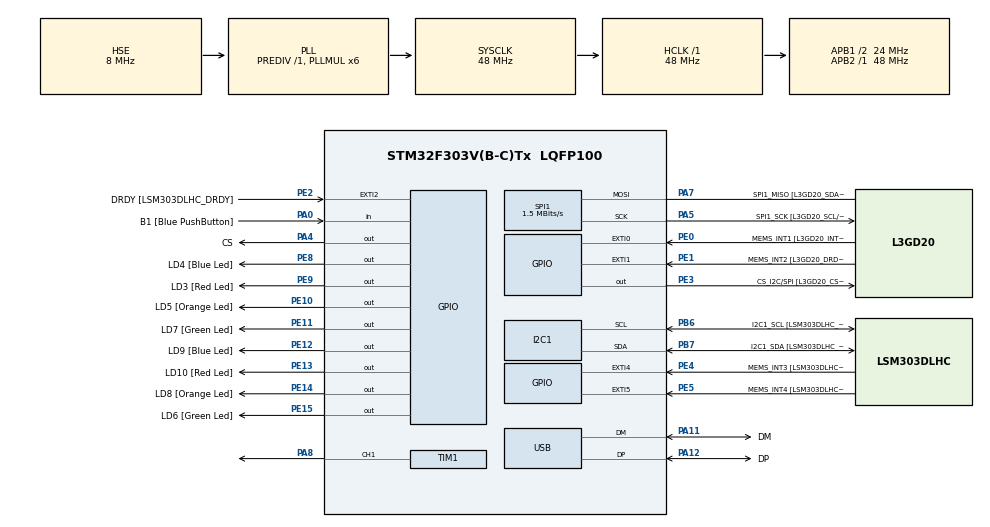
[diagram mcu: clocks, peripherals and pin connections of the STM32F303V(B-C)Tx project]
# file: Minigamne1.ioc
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I2C1.Timing=0x00201D2B
I2C1.Timing-I2C=0x2000090E
Mcu.Family=STM32F3
Mcu.Name=STM32F303V(B-C)Tx
Mcu.Package=LQFP100
NVIC.PriorityGroup=NVIC_PRIORITYGROUP_0
PA0.GPIO_Label=B1 [Blue PushButton]
PA0.Signal=GPIO_Input
PA11.GPIO_Label=DM
PA11.Mode=Device
PA11.Signal=USB_DM
PA12.GPIO_Label=DP
PA12.Mode=Device
PA12.Signal=USB_DP
PA13.GPIO_Label=SWDIO
PA13.Mode=Serial_Wire
PA13.Signal=SYS_JTMS-SWDIO
PA14.GPIO_Label=SWCLK
PA14.Mode=Serial_Wire
PA14.Signal=SYS_JTCK-SWCLK
PA4.GPIO_Label=CS
PA4.Signal=GPIO_Output
PA5.GPIO_Label=SPI1_SCK [L3GD20_SCL/SPC]
PA5.Mode=Simplex_Bidirectional_Master
PA5.Signal=SPI1_SCK
PA7.GPIO_Label=SPI1_MISO [L3GD20_SDA/SDI/SDO]
PA7.Mode=Simplex_Bidirectional_Master
PA7.Signal=SPI1_MOSI
PA8.Signal=S_TIM1_CH1
PB3.GPIO_Label=SWO
PB3.Signal=SYS_JTDO-TRACESWO
PB6.GPIO_Label=I2C1_SCL [LSM303DLHC_SCL]
PB6.GPIO_Pu=GPIO_PULLUP
PB6.Mode=I2C
PB6.Signal=I2C1_SCL
PB7.GPIO_Label=I2C1_SDA [LSM303DLHC_SDA]
PB7.GPIO_Pu=GPIO_PULLUP
PB7.Mode=I2C
PB7.Signal=I2C1_SDA
PC14-OSC32_IN.GPIO_Label=OSC32_IN
PC14-OSC32_IN.Signal=RCC_OSC32_IN
PC15-OSC32_OUT.GPIO_Label=OSC32_OUT
PC15-OSC32_OUT.Signal=RCC_OSC32_OUT
PE0.GPIO_Label=MEMS_INT1 [L3GD20_INT1]
PE0.GPIO_ModeDefaultEXTI=GPIO_MODE_EVT_RISING
PE0.Signal=GPXTI0
PE1.GPIO_Label=MEMS_INT2 [L3GD20_DRDY/INT2]
PE1.GPIO_ModeDefaultEXTI=GPIO_MODE_EVT_RISING
PE1.Signal=GPXTI1
PE10.GPIO_Label=LD5 [Orange Led]
PE10.Signal=GPIO_Output
PE11.GPIO_Label=LD7 [Green Led]
PE11.Signal=GPIO_Output
PE12.GPIO_Label=LD9 [Blue Led]
PE12.Signal=GPIO_Output
PE13.GPIO_Label=LD10 [Red Led]
PE13.Signal=GPIO_Output
PE14.GPIO_Label=LD8 [Orange Led]
PE14.Signal=GPIO_Output
PE15.GPIO_Label=LD6 [Green Led]
PE15.Signal=GPIO_Output
PE2.GPIO_Label=DRDY [LSM303DLHC_DRDY]
PE2.GPIO_ModeDefaultEXTI=GPIO_MODE_EVT_RISING
PE2.Signal=GPXTI2
PE3.GPIO_Label=CS_I2C/SPI [L3GD20_CS_I2C/SPI]
PE3.Signal=GPIO_Output
PE4.GPIO_Label=MEMS_INT3 [LSM303DLHC_INT1]
PE4.GPIO_ModeDefaultEXTI=GPIO_MODE_EVT_RISING
PE4.Signal=GPXTI4
PE5.GPIO_Label=MEMS_INT4 [LSM303DLHC_INT2]
PE5.GPIO_ModeDefaultEXTI=GPIO_MODE_EVT_RISING
PE5.Signal=GPXTI5
PE8.GPIO_Label=LD4 [Blue Led]
PE8.Signal=GPIO_Output
PE9.GPIO_Label=LD3 [Red Led]
PE9.Signal=GPIO_Output
PF0-OSC_IN.GPIO_Label=OSC_IN
PF0-OSC_IN.Mode=HSE-External-Oscillator
PF0-OSC_IN.Signal=RCC_OSC_IN
PF1-OSC_OUT.GPIO_Label=OSC_OUT
PF1-OSC_OUT.Mode=HSE-External-Oscillator
PF1-OSC_OUT.Signal=RCC_OSC_OUT
ProjectManager.HeapSize=0x200
ProjectManager.StackSize=0x400
ProjectManager.TargetToolchain=STM32CubeIDE
RCC.AHBFreq_Value=48000000
RCC.APB1CLKDivider=RCC_HCLK_DIV2
RCC.APB1Freq_Value=24000000
RCC.APB1TimFreq_Value=48000000
RCC.APB2Freq_Value=48000000
RCC.APB2TimFreq_Value=48000000
RCC.CortexFreq_Value=48000000
RCC.HCLKFreq_Value=48000000
RCC.HSE_VALUE=8000000
RCC.HSI_VALUE=8000000
RCC.LSE_VALUE=32768
RCC.PLLMUL=RCC_PLL_MUL6
RCC.SYSCLKFreq_VALUE=48000000
RCC.SYSCLKSourceVirtual=RCC_SYSCLKSOURCE_PLLCLK
RCC.USBFreq_Value=48000000
SH.S_TIM1_CH1.0=TIM1_CH1,PWM Generation1 CH1
SPI1.BaudRatePrescaler=SPI_BAUDRATEPRESCALER_32
SPI1.CLKPolarity=SPI_POLARITY_HIGH
SPI1.CalculateBaudRate=1.5 MBits/s
SPI1.DataSize=SPI_DATASIZE_16BIT
SPI1.Direction=SPI_DIRECTION_1LINE
SPI1.Mode=SPI_MODE_MASTER
SPI1.VirtualType=VM_MASTER
TIM1.Channel-PWM\ Generation1\ CH1=TIM_CHANNEL_1
TIM1.Period=1000
TIM1.Pulse-PWM\ Generation1\ CH1=500
VP_TIM1_VS_ClockSourceINT.Mode=Internal
board=STM32F3DISCOVERY

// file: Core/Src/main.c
/* USER CODE BEGIN Header */
/**
  ******************************************************************************
  * @file           : main.c
  * @brief          : Main program body
  ******************************************************************************
  * @attention
  *
  * Copyright (c) 2025 STMicroelectronics.
  * All rights reserved.
  *
  * This software is licensed under terms that can be found in the LICENSE file
  * in the root directory of this software component.
  * If no LICENSE file comes with this software, it is provided AS-IS.
  *
  ******************************************************************************
  */
/* USER CODE END Header */
#include "main.h"
#include "GPIO.h"
#include "serial.h"
#include "song.h"
#include "LED_MATRIX.h"
#include "delay.h"
#include "master.h"

I2C_HandleTypeDef hi2c1;

SPI_HandleTypeDef hspi1;

TIM_HandleTypeDef htim1;

PCD_HandleTypeDef hpcd_USB_FS;

void SystemClock_Config(void);
static void MX_GPIO_Init(void);
static void MX_I2C1_Init(void);
static void MX_SPI1_Init(void);
static void MX_USB_PCD_Init(void);
static void MX_TIM1_Init(void);

/* USER CODE BEGIN 0 */
#define TIM_FREQ 30000000
volatile uint8_t state_counter = 1;  // Tracks A=1, B=2, C=3
volatile uint8_t reset_flag = 0;
volatile uint8_t song_is_playing = 0;
volatile uint8_t end = 0;
const uint8_t message_A[] = "What be a pirates favourite letter? \n";
const uint8_t message_B[] = "I’ve got no legs, yet roam the shore, I’ve seen more gold than most ever store. I squawk secrets of ships and sails, And wear bright colors instead of mail. What be I? \n";
const uint8_t message_C[] = "Game 3 (button 1)\n";
const uint8_t message_win[] = "You Win\n";

void pattern1();
void pattern2();
void pattern3();
void reset_game();

GPIO *led_pins;

void max7219_write (uint8_t Addr, uint8_t data)
{
	uint16_t write_data = (Addr<<8)|data; // merge our address and data into one variable with adress on the 8-RHS and data on the 8-LHS as per the datasheet
	HAL_GPIO_WritePin(CS_GPIO_Port, CS_Pin, 0); // pull the pin low to enable slave device
	HAL_SPI_Transmit(&hspi1, (uint8_t *)&write_data, 1, 100);
	HAL_GPIO_WritePin(CS_GPIO_Port, CS_Pin, 1); //Pull pin high to disable slave
}

int pres_frequency (int frequency)
{
	if (frequency ==0) return 0;
	return (TIM_FREQ /(1000*frequency));
}

void notone (void)
{
	__HAL_TIM_SET_PRESCALER(&htim1, TIM_CHANNEL_1);
}

void play_tone (int *tone, int *duration, int *pause, int size)
{
	for (int i = 0; i <size; i++)
	{
		int pres = pres_frequency(tone[i]); // Calculate the prescaler value to generate the desired frequency
		int dur = duration[i];  // Duration to play the current tone
		int pausebetweentones = 0; // Calculate the pause between tones (if provided)
		if (pause != NULL) pausebetweentones = pause[i] - duration[i];  // Set the PWM prescaler to produce the required frequency
		__HAL_TIM_SET_PRESCALER(&htim1, pres);
		HAL_Delay(dur); //delay by the duration of the note
		notone();
		HAL_Delay(pausebetweentones); // Delay for the pause duration before playing the next tone

	}
}

void reset_game(void) {
	empty_matrix(); // set all lights to off
    state_counter = 1;
    SerialOutputString((uint8_t *)"Grrr, you got the answer wrong! What be a pirates favourite letter? (A: R, B: C) \n", &USART1_PORT);
}

void second_button() {
	//if (song_is_playing) return;  // Ignore input during song playback
	if (state_counter == 1) {
	            pattern1(); //light first LED pattter
	            play_song_2 = 1; //play Pirates of the carribean song
	            state_counter = 2; //increase counter for next level
	            SerialOutputString((uint8_t *)"Ive got no legs, yet roam the shore, I’ve seen more gold than most ever store. I squawk secrets of ships and sails, And wear bright colors instead of mail. What be I? (A: Flag, B: Parrot) \n", &USART1_PORT); //print message for next game
	        }
	else if (state_counter == 2) {
	            pattern2(); //Light pattern 2 on matrix
	            play_song_2 = 1; //play song
	            state_counter = 3; //increase counter for final game
	            SerialOutputString((uint8_t *)"Pirate’s life for me, I’m the captain’s steady hand, what am I? (A: First mate, B: Pirate Ship) \n", &USART1_PORT); //print message for final game
	        }
	 else
	        {
	            reset_game();  // Wrong button for this stage
	        }

}

void first_button() {
		if (state_counter == 3) {
			            pattern3(); //light final LED pattern
			            SerialOutputString((uint8_t *)"You Win\n", &USART1_PORT);
			            play_song_3 = 1; //run song
			            //TransmitChar(&USART2_PORT, 0x01); Transmit a character when the game is done
			        }
	else
	{
	            reset_game();  // Wrong button for this stage
	 }
}

/* USER CODE END 0 */

int main(void)
{

  /* MCU Configuration--------------------------------------------------------*/

  /* Reset of all peripherals, Initializes the Flash interface and the Systick. */
  HAL_Init();

  /* Configure the system clock */
  SystemClock_Config();

  /* Initialize all configured peripherals */
  MX_GPIO_Init();
  MX_I2C1_Init();
  MX_SPI1_Init();
  MX_USB_PCD_Init();
  MX_TIM1_Init();
  /* USER CODE BEGIN 2 */
  TIM3_Init();
  matrixInit(); //Initialise the board
  SerialInitialise(BAUD_115200, &USART1_PORT, 0x00);

  HAL_TIM_PWM_Start(&htim1, TIM_CHANNEL_1); //Initiate the PWM sequence

  led_pins = init_port(E, OUTPUT, 8, 15);
      uint8_t pin_state = 0b00000001;
      write_pins(led_pins, pin_state);
      write_single_pin(led_pins, 1, 11); // PE11 on
      write_single_pin(led_pins, 0, 8);  // PE8 off

      // Initialize button (PA0 as input)
      GPIO *button = init_port(A, INPUT, 0, 0); //set PA0 to input
      GPIO *button2 = init_port(B, INPUT, 1, 1); //Set PB1 to input
      enable_interupt(button, 0, RISING_EDGE, 1, &first_button); //enable interrupt for button 1
      enable_interupt(button2, 1, RISING_EDGE, 1, &second_button); //enable interrupt for button 2

      SerialOutputString((uint8_t*)"What be a pirates favourite letter? (A: R, B: C) \n", &USART1_PORT);

  /* USER CODE END 2 */

  /* Infinite loop */
  /* USER CODE BEGIN WHILE */
  while (1)
  {
	  if (play_song_2) {
	         play_tone(notes, durations, NULL, song_length_third); //play a third of the song
	         play_song_2 = 0;
	     }

	     if (play_song_3) {
	         play_tone(notes, durations, NULL, song_length); // play the enitre song
	         play_song_2 = 0;
	     }
  }
  /* USER CODE END 3 */
}

void SystemClock_Config(void)
{
  RCC_OscInitTypeDef RCC_OscInitStruct = {0};
  RCC_ClkInitTypeDef RCC_ClkInitStruct = {0};
  RCC_PeriphCLKInitTypeDef PeriphClkInit = {0};

  /** Initializes the RCC Oscillators according to the specified parameters
  * in the RCC_OscInitTypeDef structure.
  */
  RCC_OscInitStruct.OscillatorType = RCC_OSCILLATORTYPE_HSI|RCC_OSCILLATORTYPE_HSE;
  RCC_OscInitStruct.HSEState = RCC_HSE_ON;
  RCC_OscInitStruct.HSEPredivValue = RCC_HSE_PREDIV_DIV1;
  RCC_OscInitStruct.HSIState = RCC_HSI_ON;
  RCC_OscInitStruct.HSICalibrationValue = RCC_HSICALIBRATION_DEFAULT;
  RCC_OscInitStruct.PLL.PLLState = RCC_PLL_ON;
  RCC_OscInitStruct.PLL.PLLSource = RCC_PLLSOURCE_HSE;
  RCC_OscInitStruct.PLL.PLLMUL = RCC_PLL_MUL6;
  if (HAL_RCC_OscConfig(&RCC_OscInitStruct) != HAL_OK)
  {
    Error_Handler();
  }

  /** Initializes the CPU, AHB and APB buses clocks
  */
  RCC_ClkInitStruct.ClockType = RCC_CLOCKTYPE_HCLK|RCC_CLOCKTYPE_SYSCLK
                              |RCC_CLOCKTYPE_PCLK1|RCC_CLOCKTYPE_PCLK2;
  RCC_ClkInitStruct.SYSCLKSource = RCC_SYSCLKSOURCE_PLLCLK;
  RCC_ClkInitStruct.AHBCLKDivider = RCC_SYSCLK_DIV1;
  RCC_ClkInitStruct.APB1CLKDivider = RCC_HCLK_DIV2;
  RCC_ClkInitStruct.APB2CLKDivider = RCC_HCLK_DIV1;

  if (HAL_RCC_ClockConfig(&RCC_ClkInitStruct, FLASH_LATENCY_1) != HAL_OK)
  {
    Error_Handler();
  }
  PeriphClkInit.PeriphClockSelection = RCC_PERIPHCLK_USB|RCC_PERIPHCLK_I2C1
                              |RCC_PERIPHCLK_TIM1;
  PeriphClkInit.I2c1ClockSelection = RCC_I2C1CLKSOURCE_HSI;
  PeriphClkInit.USBClockSelection = RCC_USBCLKSOURCE_PLL;
  PeriphClkInit.Tim1ClockSelection = RCC_TIM1CLK_HCLK;
  if (HAL_RCCEx_PeriphCLKConfig(&PeriphClkInit) != HAL_OK)
  {
    Error_Handler();
  }
}

static void MX_I2C1_Init(void)
{

  hi2c1.Instance = I2C1;
  hi2c1.Init.Timing = 0x00201D2B;
  hi2c1.Init.OwnAddress1 = 0;
  hi2c1.Init.AddressingMode = I2C_ADDRESSINGMODE_7BIT;
  hi2c1.Init.DualAddressMode = I2C_DUALADDRESS_DISABLE;
  hi2c1.Init.OwnAddress2 = 0;
  hi2c1.Init.OwnAddress2Masks = I2C_OA2_NOMASK;
  hi2c1.Init.GeneralCallMode = I2C_GENERALCALL_DISABLE;
  hi2c1.Init.NoStretchMode = I2C_NOSTRETCH_DISABLE;
  if (HAL_I2C_Init(&hi2c1) != HAL_OK)
  {
    Error_Handler();
  }

  /** Configure Analogue filter
  */
  if (HAL_I2CEx_ConfigAnalogFilter(&hi2c1, I2C_ANALOGFILTER_ENABLE) != HAL_OK)
  {
    Error_Handler();
  }

  /** Configure Digital filter
  */
  if (HAL_I2CEx_ConfigDigitalFilter(&hi2c1, 0) != HAL_OK)
  {
    Error_Handler();
  }

}

static void MX_SPI1_Init(void)
{

  /* SPI1 parameter configuration*/
  hspi1.Instance = SPI1;
  hspi1.Init.Mode = SPI_MODE_MASTER;
  hspi1.Init.Direction = SPI_DIRECTION_1LINE;
  hspi1.Init.DataSize = SPI_DATASIZE_16BIT;
  hspi1.Init.CLKPolarity = SPI_POLARITY_HIGH;
  hspi1.Init.CLKPhase = SPI_PHASE_1EDGE;
  hspi1.Init.NSS = SPI_NSS_SOFT;
  hspi1.Init.BaudRatePrescaler = SPI_BAUDRATEPRESCALER_32;
  hspi1.Init.FirstBit = SPI_FIRSTBIT_MSB;
  hspi1.Init.TIMode = SPI_TIMODE_DISABLE;
  hspi1.Init.CRCCalculation = SPI_CRCCALCULATION_DISABLE;
  hspi1.Init.CRCPolynomial = 7;
  hspi1.Init.CRCLength = SPI_CRC_LENGTH_DATASIZE;
  hspi1.Init.NSSPMode = SPI_NSS_PULSE_ENABLE;
  if (HAL_SPI_Init(&hspi1) != HAL_OK)
  {
    Error_Handler();
  }

}

static void MX_TIM1_Init(void)
{

  TIM_ClockConfigTypeDef sClockSourceConfig = {0};
  TIM_MasterConfigTypeDef sMasterConfig = {0};
  TIM_OC_InitTypeDef sConfigOC = {0};
  TIM_BreakDeadTimeConfigTypeDef sBreakDeadTimeConfig = {0};

  htim1.Instance = TIM1;
  htim1.Init.Prescaler = 0;
  htim1.Init.CounterMode = TIM_COUNTERMODE_UP;
  htim1.Init.Period = 1000;
  htim1.Init.ClockDivision = TIM_CLOCKDIVISION_DIV1;
  htim1.Init.RepetitionCounter = 0;
  htim1.Init.AutoReloadPreload = TIM_AUTORELOAD_PRELOAD_DISABLE;
  if (HAL_TIM_Base_Init(&htim1) != HAL_OK)
  {
    Error_Handler();
  }
  sClockSourceConfig.ClockSource = TIM_CLOCKSOURCE_INTERNAL;
  if (HAL_TIM_ConfigClockSource(&htim1, &sClockSourceConfig) != HAL_OK)
  {
    Error_Handler();
  }
  if (HAL_TIM_PWM_Init(&htim1) != HAL_OK)
  {
    Error_Handler();
  }
  sMasterConfig.MasterOutputTrigger = TIM_TRGO_RESET;
  sMasterConfig.MasterOutputTrigger2 = TIM_TRGO2_RESET;
  sMasterConfig.MasterSlaveMode = TIM_MASTERSLAVEMODE_DISABLE;
  if (HAL_TIMEx_MasterConfigSynchronization(&htim1, &sMasterConfig) != HAL_OK)
  {
    Error_Handler();
  }
  sConfigOC.OCMode = TIM_OCMODE_PWM1;
  sConfigOC.Pulse = 500;
  sConfigOC.OCPolarity = TIM_OCPOLARITY_HIGH;
  sConfigOC.OCNPolarity = TIM_OCNPOLARITY_HIGH;
  sConfigOC.OCFastMode = TIM_OCFAST_DISABLE;
  sConfigOC.OCIdleState = TIM_OCIDLESTATE_RESET;
  sConfigOC.OCNIdleState = TIM_OCNIDLESTATE_RESET;
  if (HAL_TIM_PWM_ConfigChannel(&htim1, &sConfigOC, TIM_CHANNEL_1) != HAL_OK)
  {
    Error_Handler();
  }
  sBreakDeadTimeConfig.OffStateRunMode = TIM_OSSR_DISABLE;
  sBreakDeadTimeConfig.OffStateIDLEMode = TIM_OSSI_DISABLE;
  sBreakDeadTimeConfig.LockLevel = TIM_LOCKLEVEL_OFF;
  sBreakDeadTimeConfig.DeadTime = 0;
  sBreakDeadTimeConfig.BreakState = TIM_BREAK_DISABLE;
  sBreakDeadTimeConfig.BreakPolarity = TIM_BREAKPOLARITY_HIGH;
  sBreakDeadTimeConfig.BreakFilter = 0;
  sBreakDeadTimeConfig.Break2State = TIM_BREAK2_DISABLE;
  sBreakDeadTimeConfig.Break2Polarity = TIM_BREAK2POLARITY_HIGH;
  sBreakDeadTimeConfig.Break2Filter = 0;
  sBreakDeadTimeConfig.AutomaticOutput = TIM_AUTOMATICOUTPUT_DISABLE;
  if (HAL_TIMEx_ConfigBreakDeadTime(&htim1, &sBreakDeadTimeConfig) != HAL_OK)
  {
    Error_Handler();
  }
  HAL_TIM_MspPostInit(&htim1);

}

static void MX_USB_PCD_Init(void)
{

  hpcd_USB_FS.Instance = USB;
  hpcd_USB_FS.Init.dev_endpoints = 8;
  hpcd_USB_FS.Init.speed = PCD_SPEED_FULL;
  hpcd_USB_FS.Init.phy_itface = PCD_PHY_EMBEDDED;
  hpcd_USB_FS.Init.low_power_enable = DISABLE;
  hpcd_USB_FS.Init.battery_charging_enable = DISABLE;
  if (HAL_PCD_Init(&hpcd_USB_FS) != HAL_OK)
  {
    Error_Handler();
  }

}

static void MX_GPIO_Init(void)
{
  GPIO_InitTypeDef GPIO_InitStruct = {0};

  /* GPIO Ports Clock Enable */
  __HAL_RCC_GPIOE_CLK_ENABLE();
  __HAL_RCC_GPIOC_CLK_ENABLE();
  __HAL_RCC_GPIOF_CLK_ENABLE();
  __HAL_RCC_GPIOA_CLK_ENABLE();
  __HAL_RCC_GPIOB_CLK_ENABLE();

  /*Configure GPIO pin Output Level */
  HAL_GPIO_WritePin(GPIOE, CS_I2C_SPI_Pin|LD4_Pin|LD3_Pin|LD5_Pin
                          |LD7_Pin|LD9_Pin|LD10_Pin|LD8_Pin
                          |LD6_Pin, GPIO_PIN_RESET);

  /*Configure GPIO pin Output Level */
  HAL_GPIO_WritePin(CS_GPIO_Port, CS_Pin, GPIO_PIN_RESET);

  /*Configure GPIO pins : DRDY_Pin MEMS_INT3_Pin MEMS_INT4_Pin MEMS_INT1_Pin
                           MEMS_INT2_Pin */
  GPIO_InitStruct.Pin = DRDY_Pin|MEMS_INT3_Pin|MEMS_INT4_Pin|MEMS_INT1_Pin
                          |MEMS_INT2_Pin;
  GPIO_InitStruct.Mode = GPIO_MODE_EVT_RISING;
  GPIO_InitStruct.Pull = GPIO_NOPULL;
  HAL_GPIO_Init(GPIOE, &GPIO_InitStruct);

  /*Configure GPIO pins : CS_I2C_SPI_Pin LD4_Pin LD3_Pin LD5_Pin
                           LD7_Pin LD9_Pin LD10_Pin LD8_Pin
                           LD6_Pin */
  GPIO_InitStruct.Pin = CS_I2C_SPI_Pin|LD4_Pin|LD3_Pin|LD5_Pin
                          |LD7_Pin|LD9_Pin|LD10_Pin|LD8_Pin
                          |LD6_Pin;
  GPIO_InitStruct.Mode = GPIO_MODE_OUTPUT_PP;
  GPIO_InitStruct.Pull = GPIO_NOPULL;
  GPIO_InitStruct.Speed = GPIO_SPEED_FREQ_LOW;
  HAL_GPIO_Init(GPIOE, &GPIO_InitStruct);

  /*Configure GPIO pin : B1_Pin */
  GPIO_InitStruct.Pin = B1_Pin;
  GPIO_InitStruct.Mode = GPIO_MODE_INPUT;
  GPIO_InitStruct.Pull = GPIO_NOPULL;
  HAL_GPIO_Init(B1_GPIO_Port, &GPIO_InitStruct);

  /*Configure GPIO pin : CS_Pin */
  GPIO_InitStruct.Pin = CS_Pin;
  GPIO_InitStruct.Mode = GPIO_MODE_OUTPUT_PP;
  GPIO_InitStruct.Pull = GPIO_NOPULL;
  GPIO_InitStruct.Speed = GPIO_SPEED_FREQ_LOW;
  HAL_GPIO_Init(CS_GPIO_Port, &GPIO_InitStruct);

}

void Error_Handler(void)
{
  __disable_irq();
  while (1)
  {
  }
}
